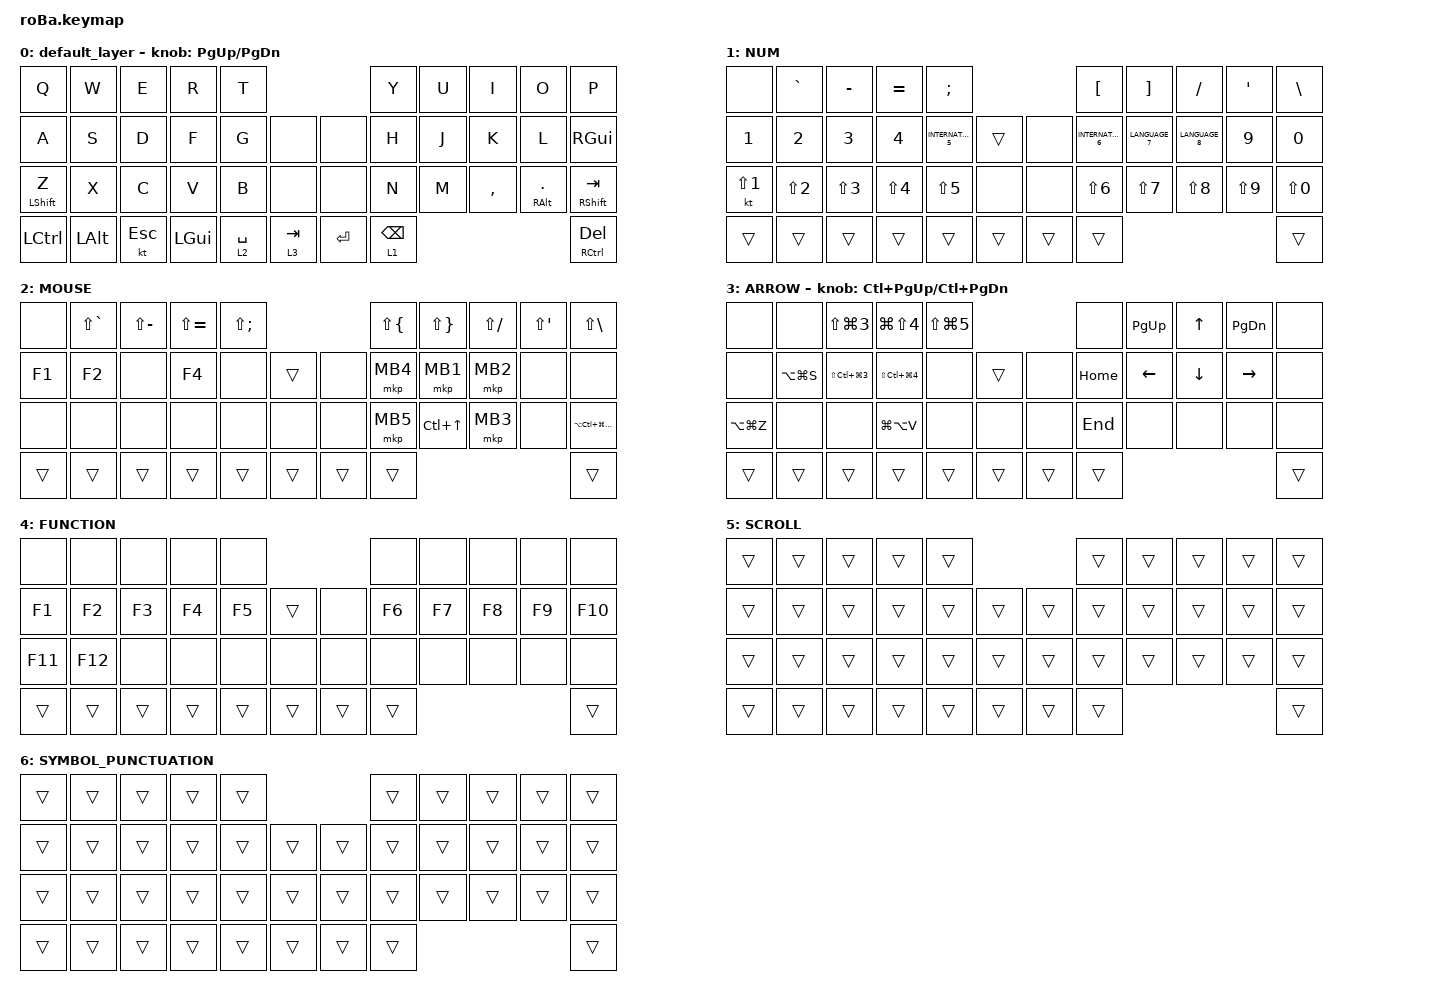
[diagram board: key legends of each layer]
#include <behaviors.dtsi>
#include <dt-bindings/zmk/keys.h>
#include <dt-bindings/zmk/pointing.h>

#define MOUSE 4
#define SCROLL 5
#define NUM 6

&mt {
    flavor = "balanced";
    quick-tap-ms = <0>;
};

/ {
    combos {
        compatible = "zmk,combos";

        tab {
            bindings = <&kp TAB>;
            key-positions = <11 12>;
        };

        shift_tab {
            bindings = <&kp LS(TAB)>;
            key-positions = <12 13>;
        };

        muhennkann {
            bindings = <&to_layer_0 INT_MUHENKAN>;
            key-positions = <11 10>;
        };

        double_quotation {
            bindings = <&kp DOUBLE_QUOTES>;
            key-positions = <20 21>;
        };

        eq {
            bindings = <&kp EQUAL>;
            key-positions = <24 25>;
        };
    };

    macros {
        to_layer_0: to_layer_0 {
            compatible = "zmk,behavior-macro-one-param";
            #binding-cells = <1>;
            bindings = <&to 0 &macro_param_1to1 &kp MACRO_PLACEHOLDER>;
            label = "TO_LAYER_0";
        };
    };

    behaviors {
        lt_to_layer_0: lt_to_layer_0 {
            compatible = "zmk,behavior-hold-tap";
            label = "LAYER_TAP_TO_0";
            bindings = <&mo>, <&to_layer_0>;

            #binding-cells = <2>;
            tapping-term-ms = <200>;
        };

        behavior_mouse_key_press: behavior_mouse_key_press {
            compatible = "zmk,behavior-mouse-key-press";
            label = "BEHAVIOR_MOUSE_KEY_PRESS";
            #binding-cells = <1>;
        };
    };

    keymap {
        compatible = "zmk,keymap";

        default_layer {
            bindings = <
&kp Q             &kp W         &kp E    &kp R     &kp T                                  &kp Y            &kp U  &kp I      &kp O              &kp P
&kp A             &kp S         &kp D    &kp F     &kp G        &none          &none      &kp H            &kp J  &kp K      &kp L              &kp RGUI
&mt LEFT_SHIFT Z  &kp X         &kp C    &kp V     &kp B        &none          &none      &kp N            &kp M  &kp COMMA  &mt RIGHT_ALT DOT  &mt RIGHT_SHIFT TAB
&kp LCTRL         &kp LEFT_ALT  &kt ESC  &kp LGUI  &lt 2 SPACE  &lt 3 TAB      &kp ENTER  &lt 1 BACKSPACE                                       &mt RCTRL DEL
            >;

            sensor-bindings = <&inc_dec_kp PG_UP PAGE_DOWN>;
        };

        NUM {
            bindings = <
&none             &kp GRAVE         &kp MINUS         &kp EQUAL         &kp SEMICOLON                            &kp LEFT_BRACKET     &kp RIGHT_BRACKET  &kp SLASH         &kp SINGLE_QUOTE  &kp BACKSLASH
&kp N1            &kp N2            &kp N3            &kp N4            &kp INTERNATIONAL_5  &trans      &none   &kp INTERNATIONAL_6  &kp LANGUAGE_7     &kp LANGUAGE_8    &kp NUMBER_9      &kp NUMBER_0
&kt LS(NUMBER_1)  &kp LS(NUMBER_2)  &kp LS(NUMBER_3)  &kp LS(NUMBER_4)  &kp LS(NUMBER_5)     &none       &none   &kp LS(NUMBER_6)     &kp LS(N7)         &kp LS(NUMBER_8)  &kp LS(NUMBER_9)  &kp LS(NUMBER_0)
&trans            &trans            &trans            &trans            &trans               &trans      &trans  &trans                                                                      &trans
            >;
        };

        MOUSE {
            bindings = <
&none   &kp LS(GRAVE)  &kp LS(MINUS)  &kp LS(EQUAL)  &kp LS(SEMI)                      &kp LS(LEFT_BRACE)  &kp LS(RIGHT_BRACE)  &kp LS(SLASH)  &kp LS(SINGLE_QUOTE)  &kp LS(BSLH)
&kp F1  &kp F2         &none          &kp F4         &none         &trans      &none   &mkp MB4            &mkp MB1             &mkp MB2       &none                 &none
&none   &none          &none          &none          &none         &none       &none   &mkp MB5            &kp LC(UP_ARROW)     &mkp MB3       &none                 &kp LA(LC(LG(LS(PAGE_UP))))
&trans  &trans         &trans         &trans         &trans        &trans      &trans  &trans                                                                        &trans
            >;
        };

        ARROW {
            bindings = <
&none          &none          &kp LS(LG(NUMBER_3))      &kp LG(LS(NUMBER_4))      &kp LS(LG(N5))                      &none     &kp PAGE_UP     &kp UP_ARROW    &kp PAGE_DOWN    &none
&none          &kp LA(LG(S))  &kp LS(LC(LG(NUMBER_3)))  &kp LS(LC(LG(NUMBER_4)))  &none           &trans      &none   &kp HOME  &kp LEFT_ARROW  &kp DOWN_ARROW  &kp RIGHT_ARROW  &none
&kp LA(LG(Z))  &none          &none                     &kp LG(LA(V))             &none           &none       &none   &kp END   &none           &none           &none            &none
&trans         &trans         &trans                    &trans                    &trans          &trans      &trans  &trans                                                     &trans
            >;

            sensor-bindings = <&inc_dec_kp LC(PAGE_UP) LC(PAGE_DOWN)>;
        };

        FUNCTION {
            bindings = <
&none    &none    &none   &none   &none                       &none   &none   &none   &none   &none
&kp F1   &kp F2   &kp F3  &kp F4  &kp F5  &trans      &none   &kp F6  &kp F7  &kp F8  &kp F9  &kp F10
&kp F11  &kp F12  &none   &none   &none   &none       &none   &none   &none   &none   &none   &none
&trans   &trans   &trans  &trans  &trans  &trans      &trans  &trans                          &trans
            >;
        };

        SCROLL {
            bindings = <
&trans  &trans  &trans  &trans  &trans                      &trans  &trans  &trans  &trans  &trans
&trans  &trans  &trans  &trans  &trans  &trans      &trans  &trans  &trans  &trans  &trans  &trans
&trans  &trans  &trans  &trans  &trans  &trans      &trans  &trans  &trans  &trans  &trans  &trans
&trans  &trans  &trans  &trans  &trans  &trans      &trans  &trans                          &trans
            >;
        };

        SYMBOL_PUNCTUATION {
            bindings = <
&trans  &trans  &trans  &trans  &trans                      &trans  &trans  &trans  &trans  &trans
&trans  &trans  &trans  &trans  &trans  &trans      &trans  &trans  &trans  &trans  &trans  &trans
&trans  &trans  &trans  &trans  &trans  &trans      &trans  &trans  &trans  &trans  &trans  &trans
&trans  &trans  &trans  &trans  &trans  &trans      &trans  &trans                          &trans
            >;
        };
    };
};
